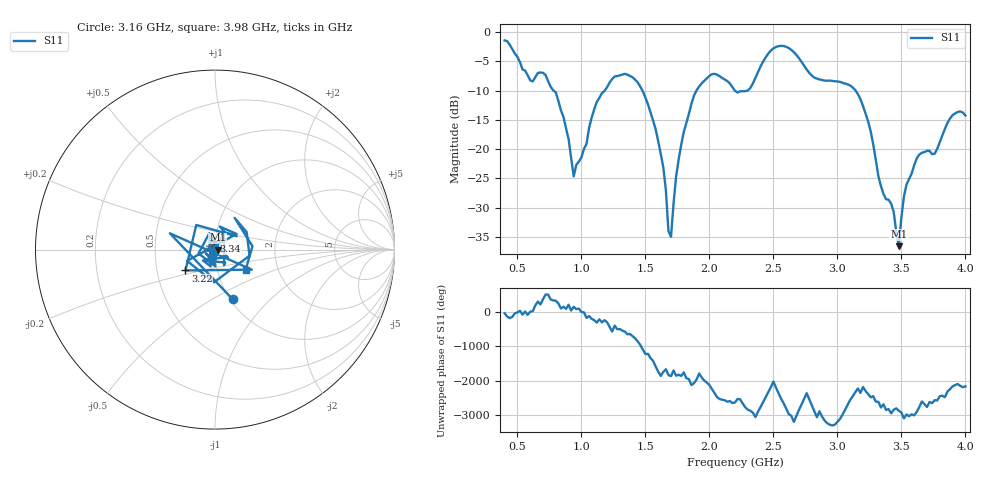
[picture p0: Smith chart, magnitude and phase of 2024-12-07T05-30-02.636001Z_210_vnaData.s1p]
!Created with skrf (http://scikit-rf.org).
# Hz S RI R 50.0
!freq ReS11 ImS11
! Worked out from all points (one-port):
!   181 points, 400 MHz to 4 GHz, reference 50 ohm
!   lowest |S11| = -36.6 dB at 3.48 GHz (marker M1), VSWR 1.03, Z = 51.5 - j0.0197 ohm
!   |S11| at or under -10 dB: 782.2 MHz to 1.182 GHz (400.3 MHz wide, 40.8 % of centre); 1.477 GHz to 1.899 GHz (422.2 MHz wide, 25 % of centre); 3.142 GHz to end of sweep (the widest 3 of 4)
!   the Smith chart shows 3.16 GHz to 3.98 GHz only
!   S11 on the Smith chart (normalised r, x): 3.16 GHz: 1.03, -0.63; 3.22 GHz: 0.70, -0.17; 3.34 GHz: 0.98, +0.10; 3.98 GHz: 1.36, -0.33
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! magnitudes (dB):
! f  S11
! 400 MHz  -1.4
! 600 MHz  -8.3
! 720 MHz  -7.3
! 860 MHz  -14.5
! 940 MHz  -24.6
! 1.12 GHz  -11.9
! 1.3 GHz  -7.4
! 1.52 GHz  -12.3
! 1.64 GHz  -23.1
! 1.68 GHz  -34.0
! 1.7 GHz  -35.0
! 1.76 GHz  -21.7
! 1.92 GHz  -9.3
! 2.04 GHz  -7.2
! 2.2 GHz  -10.0
! 2.32 GHz  -9.6
! 2.5 GHz  -2.8
! 2.66 GHz  -3.5
! 3.1 GHz  -9.1
! 3.16 GHz  -10.6
! 3.22 GHz  -13.9
! 3.34 GHz  -26.3
! 3.44 GHz  -30.7
! 3.48 GHz  -36.6
! 3.52 GHz  -28.1
! 3.56 GHz  -25.1
! 3.98 GHz  -13.8
! 4 GHz  -14.3
